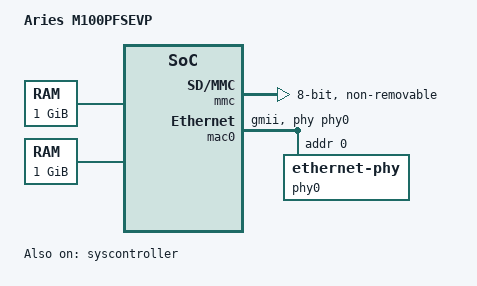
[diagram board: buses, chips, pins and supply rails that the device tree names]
// SPDX-License-Identifier: (GPL-2.0 OR MIT)
/* Copyright (c) Aries Embbedded */

/dts-v1/;

#include "../../../dts/upstream/src/riscv/microchip/mpfs.dtsi"

/* Clock frequency (in Hz) of the rtcclk */
#define RTCCLK_FREQ		1000000

/ {
	#address-cells = <2>;
	#size-cells = <2>;
	model = "Aries M100PFSEVP";
	compatible = "aries,m100pfsevp";

	aliases {
		serial1 = &mmuart1;
		ethernet0 = &mac0;
	};

	chosen {
		stdout-path = "serial1:115200n8";
	};

	cpus {
		timebase-frequency = <RTCCLK_FREQ>;
	};

	ddrc_cache_lo: memory@80000000 {
		device_type = "memory";
		reg = <0x0 0x80000000 0x0 0x40000000>;
	};

	ddrc_cache_hi: memory@1040000000 {
		device_type = "memory";
		reg = <0x10 0x40000000 0x0 0x40000000>;
	};
};

&refclk {
	clock-frequency = <125000000>;
};

&mmuart1 {
	status = "okay";
};

&mmc {
	status = "okay";
	bus-width = <8>;
	max-frequency = <50000000>;
	disable-wp;
	cap-mmc-highspeed;
	card-detect-delay = <200>;
	non-removable;
	no-1-8-v;
};

&mac0 {
	status = "okay";
	phy-mode = "gmii";
	phy-handle = <&phy0>;
	phy0: ethernet-phy@0 {
		reg = <0>;
	};
};

&mac1 {
	status = "disabled";
	phy-mode = "gmii";
	phy-handle = <&phy1>;
	phy1: ethernet-phy@1 {
		reg = <1>;
	};
};

&mbox {
	status = "okay";
};

&syscontroller {
	status = "okay";
};
